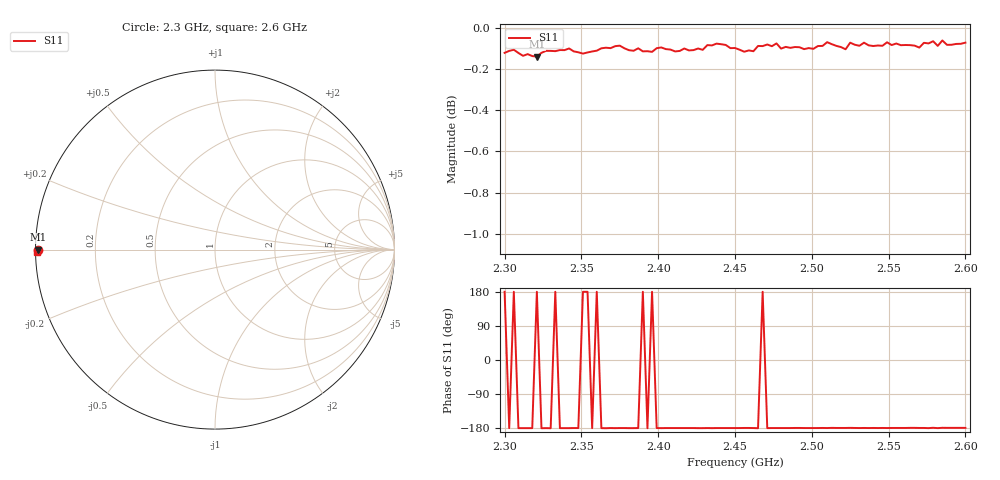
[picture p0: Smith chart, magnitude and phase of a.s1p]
# Hz S RI R 50
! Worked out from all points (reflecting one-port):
!   101 points, 2.3 GHz to 2.6 GHz, reference 50 ohm
!   lowest |S11| = -0.1 dB at 2.321 GHz (marker M1), VSWR 124.67, Z = 0.401 + j3.06e-15 ohm
!   phase of S11 starts at 180 deg and turns +1 deg over the sweep
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2.3e9  -0.9861 1.21e-16
2.321e9  -0.9841 1.21e-16
2.339e9  -0.9876 -0.00386
2.348e9  -0.9864 -0.00771
2.351e9  -0.9857 1.21e-16
2.366e9  -0.989 -2.59e-12
2.369e9  -0.9887 -0.00772
2.375e9  -0.9901 -0.00774
2.387e9  -0.9886 -0.00772
2.39e9  -0.987 1.72e-12
2.396e9  -0.9867 1.21e-16
2.399e9  -0.9887 -0.00772
2.414e9  -0.9872 -0.00771
2.45e9  -0.9888 -0.00773
2.459e9  -0.9874 -0.0116
2.468e9  -0.9899 1.21e-16
2.489e9  -0.9893 -0.0116
2.51e9  -0.992 -0.00775
2.513e9  -0.9908 -0.0155
2.525e9  -0.9917 -0.0155
2.531e9  -0.99 -0.00774
2.564e9  -0.9903 -0.0155
2.573e9  -0.9916 -0.0116
2.576e9  -0.9914 -0.00387
2.579e9  -0.9924 -0.0194
2.582e9  -0.99 -0.00387
2.585e9  -0.9928 -0.0194
2.6e9  -0.9917 -0.0155
